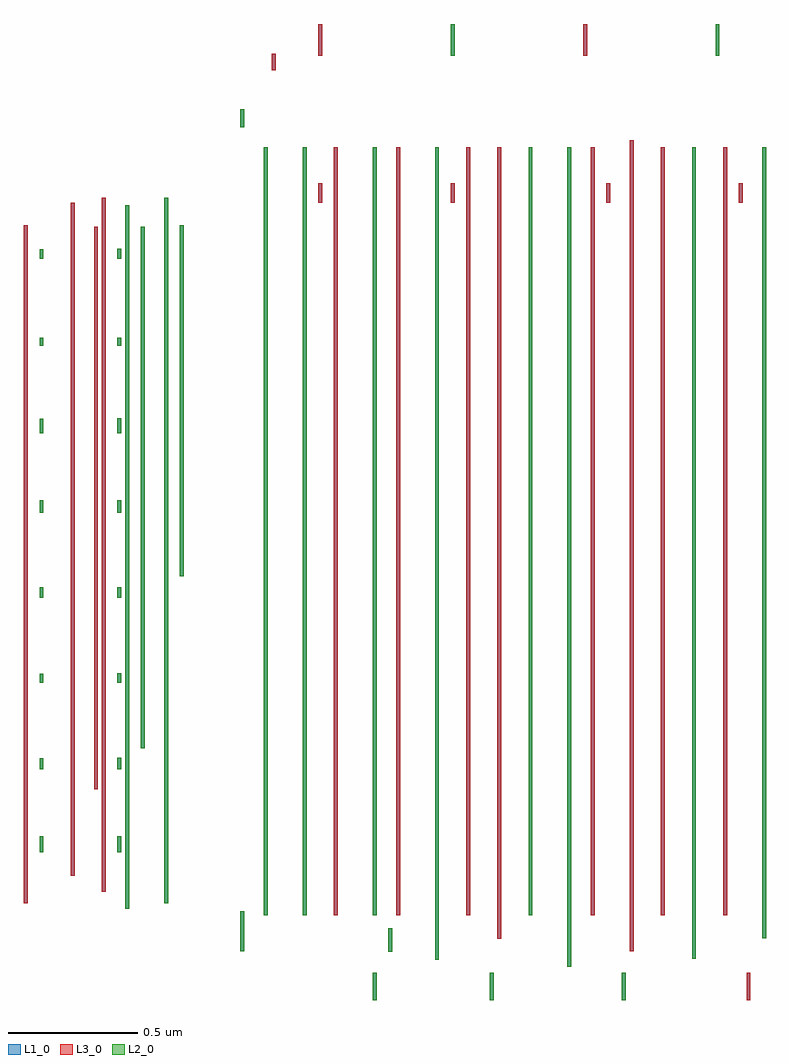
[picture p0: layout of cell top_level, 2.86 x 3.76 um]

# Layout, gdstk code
import gdstk
lib = gdstk.Library(unit=1e-6, precision=5e-10)
def R(c, l, rs):  # rectangles x0, y0, x1, y1
    for r in rs: c.add(gdstk.rectangle(r[:2], r[2:], *l))
def A(c, l, x, y, w, h, nx, ny, dx, dy):  # array of equal rectangles
    R(c, l, [(x+i*dx, y+j*dy, x+i*dx+w, y+j*dy+h) for i in range(nx) for j in range(ny)])
L1_0 = (1, 0)
L2_0 = (2, 0)
L3_0 = (3, 0)

top_level = lib.new_cell('top_level')
A(top_level, L1_0, 1.8105, 0.327, 0.015, 2.9585, 3, 1, 0.24, 0)
A(top_level, L1_0, 1.241, 3.6375, 0.015, 0.1225, 4, 1, 0.51, 0)
R(top_level, L1_0, [(1.4505,0,1.4655,0.1045), (1.9005,0,1.9155,0.1045), (2.4105,0,2.4255,0.1045), (2.8905,0,2.9055,0.1045), (2.2005,0.1285,2.2155,3.2855), (1.6905,0.156,1.7055,3.2855), (2.6805,0.1585,2.6955,3.2855), (1.5105,0.186,1.5255,0.277), (2.4405,0.188,2.4555,3.312), (0.9405,0.1885,0.9555,0.342), (1.9305,0.236,1.9455,3.2855), (2.9505,0.238,2.9655,3.2855), (1.0305,0.327,1.0455,3.2855), (1.1805,0.327,1.1955,3.2855), (1.3005,0.327,1.3155,3.2855), (1.4505,0.327,1.4655,3.2855), (1.5405,0.327,1.5555,3.2855), (2.5605,0.327,2.5755,3.2855), (2.8005,0.327,2.8155,3.2855), (0.4965,0.3515,0.5115,3.0625), (0.1065,0.373,0.1215,2.985), (0.6465,0.373,0.6615,3.0905), (0.4065,0.417,0.4215,3.0905), (0.2865,0.4785,0.3015,3.0715), (0.1665,0.569,0.1815,0.63), (0.4665,0.569,0.4815,0.63), (0.3765,0.812,0.3915,2.9785), (0.1665,0.888,0.1815,0.9305), (0.4665,0.888,0.4815,0.9325), (0.5565,0.97,0.5715,2.979), (0.1665,1.223,0.1815,1.2575), (0.4665,1.223,0.4815,1.2595), (0.1665,1.55,0.1815,1.59), (0.4665,1.55,0.4815,1.59), (0.7065,1.632,0.7215,2.9845), (0.1665,1.877,0.1815,1.926), (0.4665,1.877,0.4815,1.926), (0.1665,2.184,0.1815,2.2385), (0.4665,2.184,0.4815,2.2405), (0.1665,2.52,0.1815,2.551), (0.4665,2.52,0.4815,2.551), (0.1665,2.856,0.1815,2.8925), (0.4665,2.856,0.4815,2.8945), (1.2405,3.0705,1.2555,3.1465), (1.7505,3.0705,1.7655,3.1465), (2.3505,3.0705,2.3655,3.1465), (2.8605,3.0705,2.8755,3.1465), (0.9405,3.3625,0.9555,3.4315), (1.061,3.581,1.076,3.6445)])
R(top_level, L2_0, [(1.4505,0,1.4655,0.1045), (1.9005,0,1.9155,0.1045), (2.4105,0,2.4255,0.1045), (2.2005,0.1285,2.2155,3.2855), (1.6905,0.156,1.7055,3.2855), (2.6805,0.1585,2.6955,3.2855), (1.5105,0.186,1.5255,0.277), (0.9405,0.1885,0.9555,0.342), (2.9505,0.238,2.9655,3.2855), (1.0305,0.327,1.0455,3.2855), (1.1805,0.327,1.1955,3.2855), (1.4505,0.327,1.4655,3.2855), (2.0505,0.327,2.0655,3.2855), (0.4965,0.3515,0.5115,3.0625), (0.6465,0.373,0.6615,3.0905), (0.1665,0.569,0.1815,0.63), (0.4665,0.569,0.4815,0.63), (0.1665,0.888,0.1815,0.9305), (0.4665,0.888,0.4815,0.9325), (0.5565,0.97,0.5715,2.979), (0.1665,1.223,0.1815,1.2575), (0.4665,1.223,0.4815,1.2595), (0.1665,1.55,0.1815,1.59), (0.4665,1.55,0.4815,1.59), (0.7065,1.632,0.7215,2.9845), (0.1665,1.877,0.1815,1.926), (0.4665,1.877,0.4815,1.926), (0.1665,2.184,0.1815,2.2385), (0.4665,2.184,0.4815,2.2405), (0.1665,2.52,0.1815,2.551), (0.4665,2.52,0.4815,2.551), (0.1665,2.856,0.1815,2.8925), (0.4665,2.856,0.4815,2.8945), (0.9405,3.3625,0.9555,3.4315), (1.751,3.6375,1.766,3.76), (2.771,3.6375,2.786,3.76)])
R(top_level, L3_0, [(2.8905,0,2.9055,0.1045), (2.4405,0.188,2.4555,3.312), (1.9305,0.236,1.9455,3.2855), (1.3005,0.327,1.3155,3.2855), (1.5405,0.327,1.5555,3.2855), (1.8105,0.327,1.8255,3.2855), (2.2905,0.327,2.3055,3.2855), (2.5605,0.327,2.5755,3.2855), (2.8005,0.327,2.8155,3.2855), (0.1065,0.373,0.1215,2.985), (0.4065,0.417,0.4215,3.0905), (0.2865,0.4785,0.3015,3.0715), (0.3765,0.812,0.3915,2.9785), (1.2405,3.0705,1.2555,3.1465), (1.7505,3.0705,1.7655,3.1465), (2.3505,3.0705,2.3655,3.1465), (2.8605,3.0705,2.8755,3.1465), (1.061,3.581,1.076,3.6445), (1.241,3.6375,1.256,3.76), (2.261,3.6375,2.276,3.76)])

lib.write_gds('top_level.gds')
